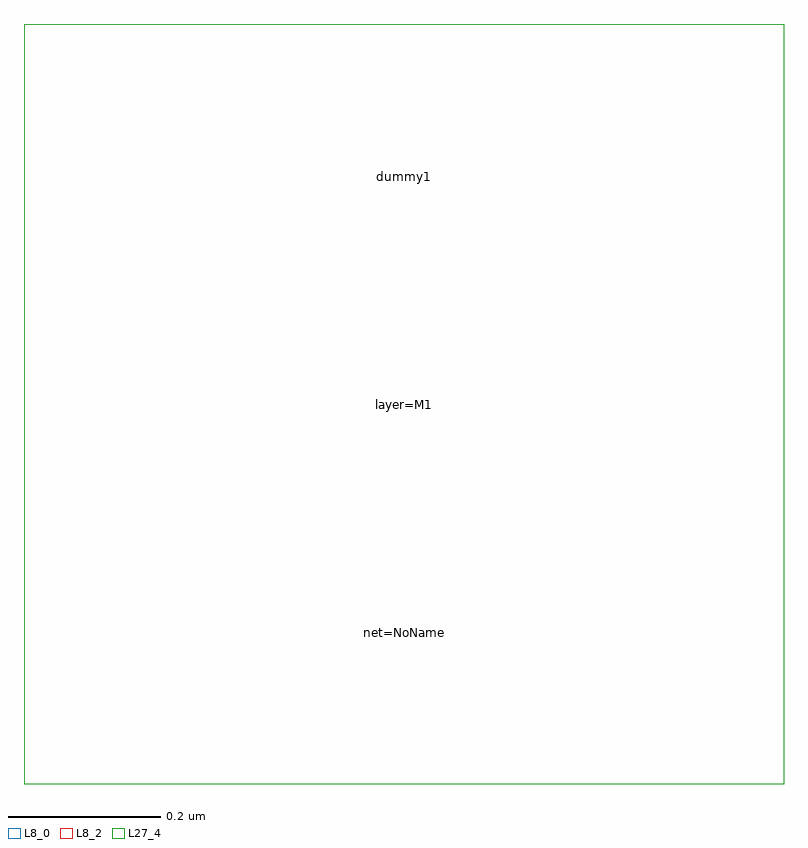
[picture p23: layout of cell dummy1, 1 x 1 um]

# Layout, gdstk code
import gdstk
lib = gdstk.Library(unit=1e-6, precision=1e-09)
def R(c, l, rs):  # rectangles x0, y0, x1, y1
    for r in rs: c.add(gdstk.rectangle(r[:2], r[2:], *l))
L8_0 = (8, 0)
L8_2 = (8, 2)
L27_4 = (27, 4)

dummy1 = lib.new_cell('dummy1')
R(dummy1, L8_0, [(-0.5,-0.5,0.5,0.5), (-0.5,-0.5,0.5,0.5)])
R(dummy1, L8_2, [(-0.5,-0.5,0.5,0.5), (-0.5,-0.5,0.5,0.5)])
R(dummy1, L27_4, [(-0.5,-0.5,0.5,0.5), (-0.5,-0.5,0.5,0.5)])
dummy1.add(gdstk.Label('net=NoName', (0,-0.3), layer=63, texttype=0))
dummy1.add(gdstk.Label('layer=M1', (0,0), layer=63, texttype=0))
dummy1.add(gdstk.Label('dummy1', (0,0.3), layer=63, texttype=0))
dummy1.add(gdstk.Label('net=NoName', (0,-0.3), layer=63, texttype=0))
dummy1.add(gdstk.Label('layer=M1', (0,0), layer=63, texttype=0))
dummy1.add(gdstk.Label('dummy1', (0,0.3), layer=63, texttype=0))

lib.write_gds('dummy1.gds')
